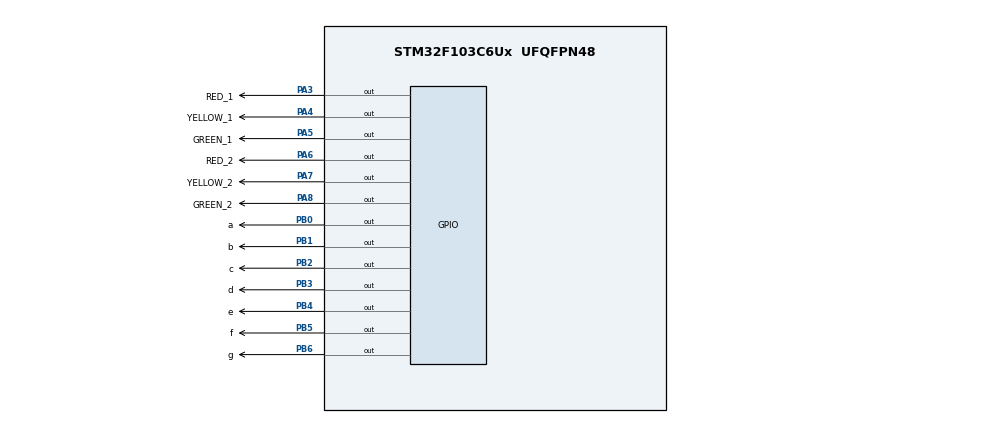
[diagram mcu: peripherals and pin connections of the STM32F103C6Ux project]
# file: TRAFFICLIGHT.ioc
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Mcu.Family=STM32F1
Mcu.Name=STM32F103C6Ux
Mcu.Package=UFQFPN48
NVIC.PriorityGroup=NVIC_PRIORITYGROUP_4
PA3.GPIO_Label=RED_1
PA3.Signal=GPIO_Output
PA4.GPIO_Label=YELLOW_1
PA4.Signal=GPIO_Output
PA5.GPIO_Label=GREEN_1
PA5.Signal=GPIO_Output
PA6.GPIO_Label=RED_2
PA6.Signal=GPIO_Output
PA7.GPIO_Label=YELLOW_2
PA7.Signal=GPIO_Output
PA8.GPIO_Label=GREEN_2
PA8.Signal=GPIO_Output
PB0.GPIO_Label=a
PB0.Signal=GPIO_Output
PB1.GPIO_Label=b
PB1.Signal=GPIO_Output
PB2.GPIO_Label=c
PB2.Signal=GPIO_Output
PB3.GPIO_Label=d
PB3.Signal=GPIO_Output
PB4.GPIO_Label=e
PB4.Signal=GPIO_Output
PB5.GPIO_Label=f
PB5.Signal=GPIO_Output
PB6.GPIO_Label=g
PB6.Signal=GPIO_Output
ProjectManager.HeapSize=0x200
ProjectManager.StackSize=0x400
ProjectManager.TargetToolchain=STM32CubeIDE
RCC.APB1Freq_Value=8000000
RCC.APB2Freq_Value=8000000
board=custom

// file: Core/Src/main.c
/* USER CODE BEGIN Header */
/**
  ******************************************************************************
  * @file           : main.c
  * @brief          : Main program body
  ******************************************************************************
  * @attention
  *
  * Copyright (c) 2022 STMicroelectronics.
  * All rights reserved.
  *
  * This software is licensed under terms that can be found in the LICENSE file
  * in the root directory of this software component.
  * If no LICENSE file comes with this software, it is provided AS-IS.
  *
  ******************************************************************************
  */
/* USER CODE END Header */
#include "main.h"

void SystemClock_Config(void);
static void MX_GPIO_Init(void);

/* USER CODE BEGIN 0 */
void display7SEG(int num) {
	switch(num) {
	case 0:
		HAL_GPIO_WritePin(GPIOB, GPIO_PIN_0, RESET);
		HAL_GPIO_WritePin(GPIOB, GPIO_PIN_1, RESET);
		HAL_GPIO_WritePin(GPIOB, GPIO_PIN_2, RESET);
		HAL_GPIO_WritePin(GPIOB, GPIO_PIN_3, RESET);
		HAL_GPIO_WritePin(GPIOB, GPIO_PIN_4, RESET);
		HAL_GPIO_WritePin(GPIOB, GPIO_PIN_5, RESET);
		HAL_GPIO_WritePin(GPIOB, GPIO_PIN_6, SET);
		break;
	case 1:
		HAL_GPIO_WritePin(GPIOB, GPIO_PIN_0, SET);
		HAL_GPIO_WritePin(GPIOB, GPIO_PIN_1, RESET);
		HAL_GPIO_WritePin(GPIOB, GPIO_PIN_2, RESET);
		HAL_GPIO_WritePin(GPIOB, GPIO_PIN_3, SET);
		HAL_GPIO_WritePin(GPIOB, GPIO_PIN_4, SET);
		HAL_GPIO_WritePin(GPIOB, GPIO_PIN_5, SET);
		HAL_GPIO_WritePin(GPIOB, GPIO_PIN_6, SET);
		break;
	case 2:
		HAL_GPIO_WritePin(GPIOB, GPIO_PIN_0, RESET);
		HAL_GPIO_WritePin(GPIOB, GPIO_PIN_1, RESET);
		HAL_GPIO_WritePin(GPIOB, GPIO_PIN_2, SET);
		HAL_GPIO_WritePin(GPIOB, GPIO_PIN_3, RESET);
		HAL_GPIO_WritePin(GPIOB, GPIO_PIN_4, RESET);
		HAL_GPIO_WritePin(GPIOB, GPIO_PIN_5, SET);
		HAL_GPIO_WritePin(GPIOB, GPIO_PIN_6, RESET);
		break;
	case 3:
		HAL_GPIO_WritePin(GPIOB, GPIO_PIN_0, RESET);
		HAL_GPIO_WritePin(GPIOB, GPIO_PIN_1, RESET);
		HAL_GPIO_WritePin(GPIOB, GPIO_PIN_2, RESET);
		HAL_GPIO_WritePin(GPIOB, GPIO_PIN_3, RESET);
		HAL_GPIO_WritePin(GPIOB, GPIO_PIN_4, SET);
		HAL_GPIO_WritePin(GPIOB, GPIO_PIN_5, SET);
		HAL_GPIO_WritePin(GPIOB, GPIO_PIN_6, RESET);
		break;
	case 4:
		HAL_GPIO_WritePin(GPIOB, GPIO_PIN_0, SET);
		HAL_GPIO_WritePin(GPIOB, GPIO_PIN_1, RESET);
		HAL_GPIO_WritePin(GPIOB, GPIO_PIN_2, RESET);
		HAL_GPIO_WritePin(GPIOB, GPIO_PIN_3, SET);
		HAL_GPIO_WritePin(GPIOB, GPIO_PIN_4, SET);
		HAL_GPIO_WritePin(GPIOB, GPIO_PIN_5, RESET);
		HAL_GPIO_WritePin(GPIOB, GPIO_PIN_6, RESET);
		break;
	case 5:
		HAL_GPIO_WritePin(GPIOB, GPIO_PIN_0, RESET);
		HAL_GPIO_WritePin(GPIOB, GPIO_PIN_1, SET);
		HAL_GPIO_WritePin(GPIOB, GPIO_PIN_2, RESET);
		HAL_GPIO_WritePin(GPIOB, GPIO_PIN_3, RESET);
		HAL_GPIO_WritePin(GPIOB, GPIO_PIN_4, SET);
		HAL_GPIO_WritePin(GPIOB, GPIO_PIN_5, RESET);
		HAL_GPIO_WritePin(GPIOB, GPIO_PIN_6, RESET);
		break;
	case 6:
		HAL_GPIO_WritePin(GPIOB, GPIO_PIN_0, RESET);
		HAL_GPIO_WritePin(GPIOB, GPIO_PIN_1, SET);
		HAL_GPIO_WritePin(GPIOB, GPIO_PIN_2, RESET);
		HAL_GPIO_WritePin(GPIOB, GPIO_PIN_3, RESET);
		HAL_GPIO_WritePin(GPIOB, GPIO_PIN_4, RESET);
		HAL_GPIO_WritePin(GPIOB, GPIO_PIN_5, RESET);
		HAL_GPIO_WritePin(GPIOB, GPIO_PIN_6, RESET);
		break;
	case 7:
		HAL_GPIO_WritePin(GPIOB, GPIO_PIN_0, RESET);
		HAL_GPIO_WritePin(GPIOB, GPIO_PIN_1, RESET);
		HAL_GPIO_WritePin(GPIOB, GPIO_PIN_2, RESET);
		HAL_GPIO_WritePin(GPIOB, GPIO_PIN_3, SET);
		HAL_GPIO_WritePin(GPIOB, GPIO_PIN_4, SET);
		HAL_GPIO_WritePin(GPIOB, GPIO_PIN_5, SET);
		HAL_GPIO_WritePin(GPIOB, GPIO_PIN_6, SET);
		break;
	case 8:
		HAL_GPIO_WritePin(GPIOB, GPIO_PIN_0, RESET);
		HAL_GPIO_WritePin(GPIOB, GPIO_PIN_1, RESET);
		HAL_GPIO_WritePin(GPIOB, GPIO_PIN_2, RESET);
		HAL_GPIO_WritePin(GPIOB, GPIO_PIN_3, RESET);
		HAL_GPIO_WritePin(GPIOB, GPIO_PIN_4, RESET);
		HAL_GPIO_WritePin(GPIOB, GPIO_PIN_5, RESET);
		HAL_GPIO_WritePin(GPIOB, GPIO_PIN_6, RESET);
		break;
	case 9:
		HAL_GPIO_WritePin(GPIOB, GPIO_PIN_0, RESET);
		HAL_GPIO_WritePin(GPIOB, GPIO_PIN_1, RESET);
		HAL_GPIO_WritePin(GPIOB, GPIO_PIN_2, RESET);
		HAL_GPIO_WritePin(GPIOB, GPIO_PIN_3, RESET);
		HAL_GPIO_WritePin(GPIOB, GPIO_PIN_4, SET);
		HAL_GPIO_WritePin(GPIOB, GPIO_PIN_5, RESET);
		HAL_GPIO_WritePin(GPIOB, GPIO_PIN_6, RESET);
		break;
	}
}
/* USER CODE END 0 */

int main(void)
{

  /* MCU Configuration--------------------------------------------------------*/

  /* Reset of all peripherals, Initializes the Flash interface and the Systick. */
  HAL_Init();

  /* Configure the system clock */
  SystemClock_Config();

  /* Initialize all configured peripherals */
  MX_GPIO_Init();
  /* USER CODE BEGIN 2 */
    HAL_GPIO_WritePin(GPIOA, GPIO_PIN_3, 1);
    HAL_GPIO_WritePin(GPIOA, GPIO_PIN_4, 1);
    HAL_GPIO_WritePin(GPIOA, GPIO_PIN_5, 0);
    HAL_GPIO_WritePin(GPIOA, GPIO_PIN_6, 0);
    HAL_GPIO_WritePin(GPIOA, GPIO_PIN_7, 1);
    HAL_GPIO_WritePin(GPIOA, GPIO_PIN_8, 1);
    int time = 0;
  /* USER CODE END 2 */

  /* Infinite loop */
  /* USER CODE BEGIN WHILE */
    while (1)
    {
    	if (time >= 10) {
    	  		time = 0;
    	  		HAL_GPIO_WritePin(GPIOA, GPIO_PIN_3, 1);
    	  		HAL_GPIO_WritePin(GPIOA, GPIO_PIN_5, 0);
    	  		HAL_GPIO_WritePin(GPIOA, GPIO_PIN_7, 1);
    	  		HAL_GPIO_WritePin(GPIOA, GPIO_PIN_6, 0);
    	  	}
    	  	if (time == 3) {
    	  		HAL_GPIO_WritePin(GPIOA, GPIO_PIN_5, 1);
    	  		HAL_GPIO_WritePin(GPIOA, GPIO_PIN_4, 0);
    	  	}
    	  	if (time == 5) {
    	  		HAL_GPIO_WritePin(GPIOA, GPIO_PIN_4, 1);
    	  		HAL_GPIO_WritePin(GPIOA, GPIO_PIN_3, 0);
    	  		HAL_GPIO_WritePin(GPIOA, GPIO_PIN_6, 1);
    	  		HAL_GPIO_WritePin(GPIOA, GPIO_PIN_8, 0);
    	  	}
    	  	if (time == 8) {
    	  		HAL_GPIO_WritePin(GPIOA, GPIO_PIN_8, 1);
    	  		HAL_GPIO_WritePin(GPIOA, GPIO_PIN_7, 0);
    	  	}
    	  	display7SEG(time);
    	  	time ++;
    	  	HAL_Delay(1000);
    /* USER CODE END WHILE */

    }
}

void SystemClock_Config(void)
{
  RCC_OscInitTypeDef RCC_OscInitStruct = {0};
  RCC_ClkInitTypeDef RCC_ClkInitStruct = {0};

  /** Initializes the RCC Oscillators according to the specified parameters
  * in the RCC_OscInitTypeDef structure.
  */
  RCC_OscInitStruct.OscillatorType = RCC_OSCILLATORTYPE_HSI;
  RCC_OscInitStruct.HSIState = RCC_HSI_ON;
  RCC_OscInitStruct.HSICalibrationValue = RCC_HSICALIBRATION_DEFAULT;
  RCC_OscInitStruct.PLL.PLLState = RCC_PLL_NONE;
  if (HAL_RCC_OscConfig(&RCC_OscInitStruct) != HAL_OK)
  {
    Error_Handler();
  }

  /** Initializes the CPU, AHB and APB buses clocks
  */
  RCC_ClkInitStruct.ClockType = RCC_CLOCKTYPE_HCLK|RCC_CLOCKTYPE_SYSCLK
                              |RCC_CLOCKTYPE_PCLK1|RCC_CLOCKTYPE_PCLK2;
  RCC_ClkInitStruct.SYSCLKSource = RCC_SYSCLKSOURCE_HSI;
  RCC_ClkInitStruct.AHBCLKDivider = RCC_SYSCLK_DIV1;
  RCC_ClkInitStruct.APB1CLKDivider = RCC_HCLK_DIV1;
  RCC_ClkInitStruct.APB2CLKDivider = RCC_HCLK_DIV1;

  if (HAL_RCC_ClockConfig(&RCC_ClkInitStruct, FLASH_LATENCY_0) != HAL_OK)
  {
    Error_Handler();
  }
}

static void MX_GPIO_Init(void)
{
  GPIO_InitTypeDef GPIO_InitStruct = {0};

  /* GPIO Ports Clock Enable */
  __HAL_RCC_GPIOA_CLK_ENABLE();
  __HAL_RCC_GPIOB_CLK_ENABLE();

  /*Configure GPIO pin Output Level */
  HAL_GPIO_WritePin(GPIOA, RED_1_Pin|YELLOW_1_Pin|GREEN_1_Pin|RED_2_Pin
                          |YELLOW_2_Pin|GREEN_2_Pin, GPIO_PIN_RESET);

  /*Configure GPIO pin Output Level */
  HAL_GPIO_WritePin(GPIOB, a_Pin|b_Pin|c_Pin|d_Pin
                          |e_Pin|f_Pin|g_Pin, GPIO_PIN_RESET);

  /*Configure GPIO pins : RED_1_Pin YELLOW_1_Pin GREEN_1_Pin RED_2_Pin
                           YELLOW_2_Pin GREEN_2_Pin */
  GPIO_InitStruct.Pin = RED_1_Pin|YELLOW_1_Pin|GREEN_1_Pin|RED_2_Pin
                          |YELLOW_2_Pin|GREEN_2_Pin;
  GPIO_InitStruct.Mode = GPIO_MODE_OUTPUT_PP;
  GPIO_InitStruct.Pull = GPIO_NOPULL;
  GPIO_InitStruct.Speed = GPIO_SPEED_FREQ_LOW;
  HAL_GPIO_Init(GPIOA, &GPIO_InitStruct);

  /*Configure GPIO pins : a_Pin b_Pin c_Pin d_Pin
                           e_Pin f_Pin g_Pin */
  GPIO_InitStruct.Pin = a_Pin|b_Pin|c_Pin|d_Pin
                          |e_Pin|f_Pin|g_Pin;
  GPIO_InitStruct.Mode = GPIO_MODE_OUTPUT_PP;
  GPIO_InitStruct.Pull = GPIO_NOPULL;
  GPIO_InitStruct.Speed = GPIO_SPEED_FREQ_LOW;
  HAL_GPIO_Init(GPIOB, &GPIO_InitStruct);

}

void Error_Handler(void)
{
  __disable_irq();
  while (1)
  {
  }
}
